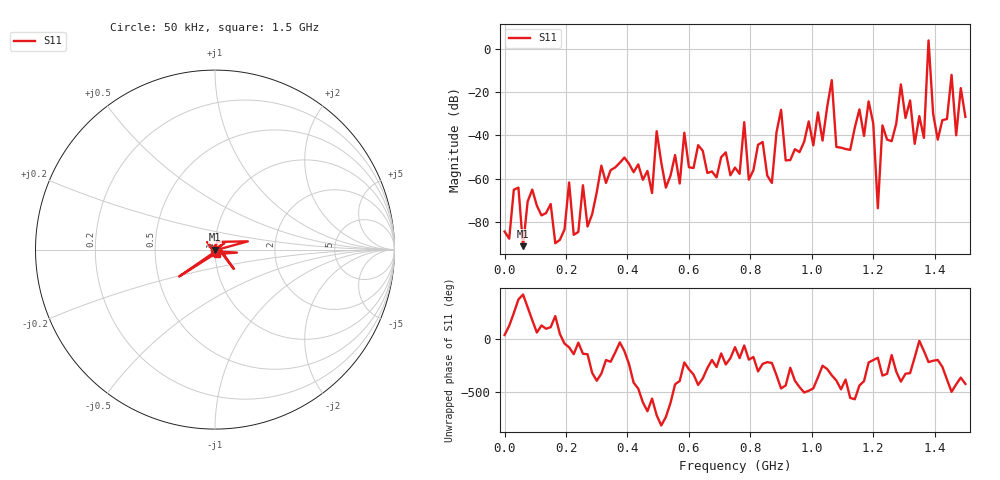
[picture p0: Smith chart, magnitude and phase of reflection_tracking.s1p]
! Created with skrf 1.8.0 (http://scikit-rf.org).
# Hz S RI R 50.0
!freq ReS11 ImS11
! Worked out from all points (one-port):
!   101 points, 50 kHz to 1.5 GHz, reference 50 ohm
!   lowest |S11| = -91.3 dB at 60.05 MHz (marker M1), VSWR 1.00, Z = 50 + j0.0024 ohm
!   |S11| at or under -10 dB: start of sweep to 1.375 GHz; 1.386 GHz to end of sweep
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50000  4.74e-05 3.56e-05
6.0048e7  1.3e-05 2.4e-05
1.950435e8  4.73e-05 -4.68e-05
3.750375e8  0.00193 -0.00126
4.80034e8  -0.00041 0.000213
4.950335e8  0.0123 -0.00126
5.70031e8  0.000587 -0.000493
5.850305e8  -0.00833 0.00785
7.50025e8  0.000357 -0.00176
7.80024e8  0.00922 -0.0178
7.950235e8  -0.000899 0.000274
8.70021e8  -0.000525 0.000591
9.0002e8  -0.0139 -0.0362
9.450185e8  0.00379 -0.0029
1.035016e9  -0.00199 0.00727
1.065014e9  0.1828 0.0459
1.080014e9  0.00437 -0.00311
1.125012e9  -0.00431 0.00161
1.18501e9  -0.0437 0.0421
1.21501e9  -0.000205 -2.33e-06
1.230009e9  0.0166 0.00335
1.320006e9  0.0522 0.0366
1.365004e9  -0.00364 -0.0079
1.380004e9  -1.188 1.007
1.410003e9  -0.00745 0.0027
1.455002e9  -0.1996 -0.1498
1.470001e9  0.00316 -0.00949
1.5e9  0.00997 -0.0247
